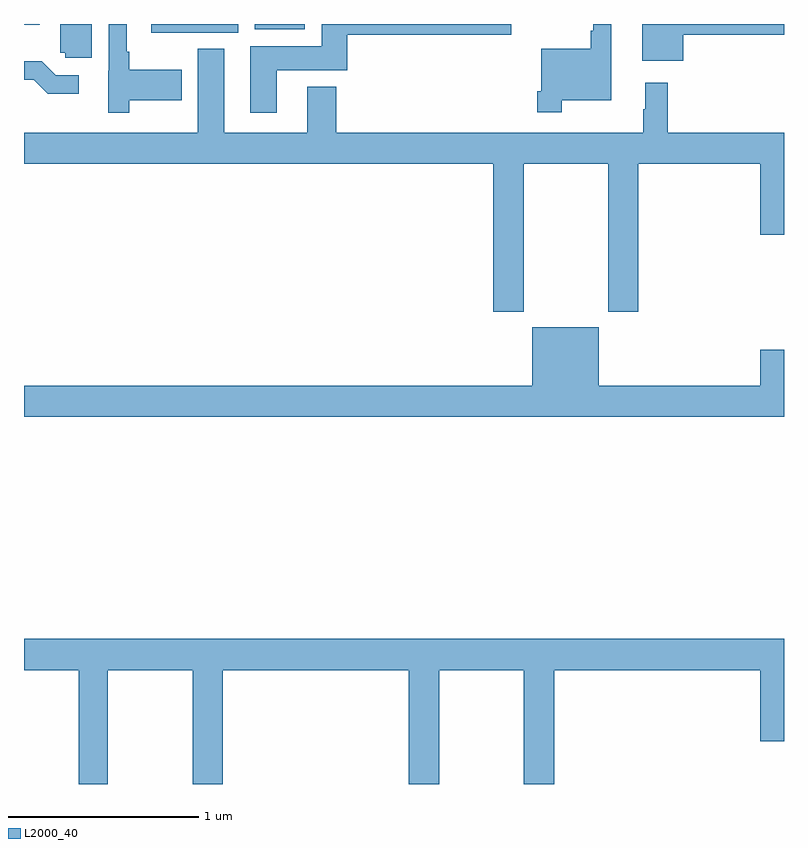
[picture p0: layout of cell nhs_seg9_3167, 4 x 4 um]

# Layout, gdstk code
import gdstk
lib = gdstk.Library(unit=1e-6, precision=1e-09)
def R(c, l, rs):  # rectangles x0, y0, x1, y1
    for r in rs: c.add(gdstk.rectangle(r[:2], r[2:], *l))
def P(c, l, *ps):  # polygons
    for p in ps: c.add(gdstk.Polygon(p, *l))
L2000_40 = (2000, 40)

nhs_seg9_3167 = lib.new_cell('nhs_seg9_3167')
R(nhs_seg9_3167, L2000_40, [(293.67,1186.454,294.127,1186.5), (294.215,1186.472,294.478,1186.5), (293,1186.496,293.083,1186.5)])
P(nhs_seg9_3167, L2000_40, [(296.47,1186.444),(297,1186.444),(297,1186.5),(296.255,1186.5),(296.255,1186.307),(296.47,1186.307)],
  [(295.831,1186.1),(296.092,1186.1),(296.092,1186.5),(295.995,1186.5),(295.995,1186.465),(295.983,1186.465),(295.983,1186.369),(295.722,1186.369),(295.722,1186.147),(295.702,1186.147),(295.702,1186.035),(295.831,1186.035)],
  [(293.554,1186.1),(293.83,1186.1),(293.83,1186.258),(293.554,1186.258),(293.554,1186.354),(293.541,1186.354),(293.541,1186.5),(293.445,1186.5),(293.445,1186.254),(293.444,1186.254),(293.444,1186.032),(293.554,1186.032)],
  [(294.331,1186.256),(294.701,1186.256),(294.701,1186.444),(295.564,1186.444),(295.564,1186.5),(294.566,1186.5),(294.566,1186.384),(294.191,1186.384),(294.191,1186.032),(294.331,1186.032)],
  [(293.356,1186.5),(293.192,1186.5),(293.192,1186.35),(293.217,1186.35),(293.217,1186.323),(293.356,1186.323)],
  [(295.629,1185.764),(296.074,1185.764),(296.074,1184.985),(296.234,1184.985),(296.234,1185.764),(296.876,1185.764),(296.876,1185.39),(297,1185.39),(297,1185.928),(296.387,1185.928),(296.387,1186.192),(296.27,1186.192),(296.27,1186.052),(296.259,1186.052),(296.259,1185.928),(294.644,1185.928),(294.644,1186.171),(294.491,1186.171),(294.491,1185.928),(294.055,1185.928),(294.055,1186.369),(293.915,1186.369),(293.915,1185.928),(293,1185.928),(293,1185.764),(295.469,1185.764),(295.469,1184.985),(295.629,1184.985)],
  [(293.287,1186.23),(293.166,1186.23),(293.093,1186.303),(293,1186.303),(293,1186.206),(293.052,1186.206),(293.125,1186.133),(293.287,1186.133)],
  [(297,1184.785),(296.876,1184.785),(296.876,1184.596),(296.026,1184.596),(296.026,1184.905),(295.676,1184.905),(295.676,1184.596),(293,1184.596),(293,1184.432),(297,1184.432)],
  [(293.442,1183.1),(293.887,1183.1),(293.887,1182.5),(294.047,1182.5),(294.047,1183.1),(295.025,1183.1),(295.025,1182.5),(295.185,1182.5),(295.185,1183.1),(295.63,1183.1),(295.63,1182.5),(295.79,1182.5),(295.79,1183.1),(296.876,1183.1),(296.876,1182.726),(297,1182.726),(297,1183.264),(293,1183.264),(293,1183.1),(293.287,1183.1),(293.287,1182.5),(293.442,1182.5)])

lib.write_gds('nhs_seg9_3167.gds')
